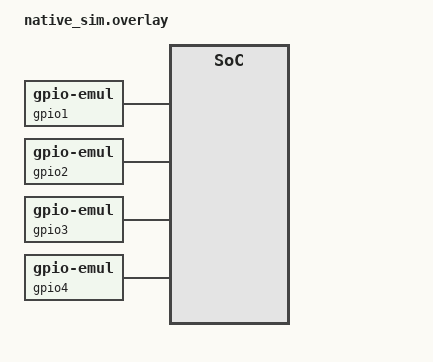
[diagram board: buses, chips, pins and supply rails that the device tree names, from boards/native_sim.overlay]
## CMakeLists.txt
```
# Copyright (c) 2024 Navimatix GmbH
# SPDX-License-Identifier: Apache-2.0

cmake_minimum_required(VERSION 3.28.0)

find_package(Zephyr REQUIRED HINTS $ENV{ZEPHYR_BASE})
project(step_dir_driver_test)

target_sources(app PRIVATE
  src/main.c
)
```

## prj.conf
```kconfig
# Copyright (c) 2024 Navimatix GmbH
# SPDX-License-Identifier: Apache-2.0

CONFIG_ZTEST=y
CONFIG_TEST=y
CONFIG_TEST_USERSPACE=y
CONFIG_LOG=y
CONFIG_STEPPER_LOG_LEVEL_DBG=y
CONFIG_STEPPER=y
CONFIG_POLL=y
CONFIG_GPIO=y
```

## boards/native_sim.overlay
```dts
/*
 * Copyright (c) 2024 Navimatix GmbH
 * SPDX-License-Identifier: Apache-2.0
 */

#include <zephyr/dt-bindings/gpio/gpio.h>

/ {
	gpio1: gpio1 {
		compatible = "zephyr,gpio-emul";
		#gpio-cells = <0x2>;
		gpio-controller;
		status = "okay";
	};

	gpio2: gpio2 {
		compatible = "zephyr,gpio-emul";
		#gpio-cells = <0x2>;
		gpio-controller;
		status = "okay";
	};

	gpio3: gpio3 {
		compatible = "zephyr,gpio-emul";
		#gpio-cells = <0x2>;
		gpio-controller;
		status = "okay";
	};

	gpio4: gpio4 {
		compatible = "zephyr,gpio-emul";
		#gpio-cells = <0x2>;
		gpio-controller;
		status = "okay";
	};
};
```

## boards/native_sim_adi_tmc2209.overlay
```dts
/*
 * Copyright (c) 2024 Jilay Sandeep Pandya
 * SPDX-License-Identifier: Apache-2.0
 */

#include "native_sim.overlay"
#include <zephyr/dt-bindings/gpio/gpio.h>

/ {
	aliases {
		stepper = &adi_tmc2209;
	};

	adi_tmc2209: adi_tmc2209 {
		compatible = "adi,tmc2209";
		micro-step-res = <32>;
		en-gpios = <&gpio2 1 0>;
		m0-gpios = <&gpio3 0 0>;
		m1-gpios = <&gpio4 1 0>;
		status = "okay";
	};
};
```

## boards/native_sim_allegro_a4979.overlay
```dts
/*
 * Copyright (c) 2024 Jilay Sandeep Pandya
 * SPDX-License-Identifier: Apache-2.0
 */

#include "native_sim.overlay"
#include <zephyr/dt-bindings/gpio/gpio.h>

/ {
	aliases {
		stepper = &allegro_a4979;
	};

	allegro_a4979: allegro_a4979 {
		status = "okay";
		compatible = "allegro,a4979";
		micro-step-res = <1>;
		reset-gpios = <&gpio4 0 0>;
		en-gpios = <&gpio2 1 0>;
		m0-gpios = <&gpio3 0 0>;
		m1-gpios = <&gpio3 1 0>;
	};
};
```

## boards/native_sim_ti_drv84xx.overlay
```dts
/*
 * Copyright (c) 2024 Jilay Sandeep Pandya
 * SPDX-License-Identifier: Apache-2.0
 */

#include "native_sim.overlay"
#include <zephyr/dt-bindings/gpio/gpio.h>

/ {
	aliases {
		stepper = &ti_drv84xx;
	};

	ti_drv84xx: ti_drv84xx {
		compatible = "ti,drv84xx";
		sleep-gpios = <&gpio2 0 GPIO_ACTIVE_LOW>;
		en-gpios = <&gpio2 1 0>;
		m0-gpios = <&gpio3 0 0>;
		m1-gpios = <&gpio4 1 0>;
		status = "okay";
	};
};
```

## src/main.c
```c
/*
 * Copyright 2024 Navimatix GmbH
 *
 * SPDX-License-Identifier: Apache-2.0
 */

#include <zephyr/drivers/gpio.h>
#include <zephyr/kernel.h>
#include <zephyr/ztest_assert.h>
#include <stdbool.h>
#include <stdint.h>
#include <zephyr/ztest.h>
#include <zephyr/drivers/stepper/stepper.h>
#include <zephyr/drivers/gpio/gpio_emul.h>

struct stepper_fixture {
	const struct device *dev;
};

struct gpio_dt_spec en_pin = GPIO_DT_SPEC_GET_OR(DT_ALIAS(stepper), en_gpios, {0});
struct gpio_dt_spec slp_pin = GPIO_DT_SPEC_GET_OR(DT_ALIAS(stepper), sleep_gpios, {0});
struct gpio_dt_spec m0_pin = GPIO_DT_SPEC_GET_OR(DT_ALIAS(stepper), m0_gpios, {0});
struct gpio_dt_spec m1_pin = GPIO_DT_SPEC_GET_OR(DT_ALIAS(stepper), m1_gpios, {0});

static void *stepper_setup(void)
{
	static struct stepper_fixture fixture = {
		.dev = DEVICE_DT_GET(DT_ALIAS(stepper)),
	};

	zassert_not_null(fixture.dev);
	return &fixture;
}

ZTEST_F(stepper, test_enable_gpio_pins)
{
	int value = 0;
	int err;

	err = stepper_enable(fixture->dev);
	if (err == -ENOTSUP) {
		ztest_test_skip();
	}
	/* As sleep and enable pins are optional, check if they exist*/
	if (en_pin.port != NULL) {
		value = gpio_emul_output_get(en_pin.port, en_pin.pin);
		zassert_equal(value, 1, "Enable pin should be set");
	}
	if (slp_pin.port != NULL) {
		value = !gpio_emul_output_get(slp_pin.port, slp_pin.pin);
		zassert_equal(value, 0, "Sleep pin should not be set");
	}

	/* As enable is supported, disable must also be supported */
	zassert_ok(stepper_disable(fixture->dev));

	if (en_pin.port != NULL) {
		value = gpio_emul_output_get(en_pin.port, en_pin.pin);
		zassert_equal(value, 0, "Enable pin should not be set");
	}
	if (slp_pin.port != NULL) {
		value = !gpio_emul_output_get(slp_pin.port, slp_pin.pin);
		zassert_equal(value, 1, "Sleep pin should be set");
	}
}

ZTEST_F(stepper, test_micro_step_res_set)
{
	enum stepper_micro_step_resolution res;
	int value = 0;

	zassert_ok(stepper_set_micro_step_res(fixture->dev, CONFIG_MICRO_STEP_RESOLUTION));

	if (m0_pin.port == NULL || m1_pin.port == NULL) {
		ztest_test_skip();
	}

	value = gpio_emul_output_get(m0_pin.port, m0_pin.pin);
	zassert_equal(value, CONFIG_MICRO_STEP_RESOLUTION_M0, "M0 pin should be %d",
		      CONFIG_MICRO_STEP_RESOLUTION_M0);

	value = gpio_emul_output_get(m1_pin.port, m1_pin.pin);
	zassert_equal(value, CONFIG_MICRO_STEP_RESOLUTION_M1, "M1 pin should be 1",
		      CONFIG_MICRO_STEP_RESOLUTION_M1);

	zassert_ok(stepper_get_micro_step_res(fixture->dev, &res));
	zassert_equal(res, CONFIG_MICRO_STEP_RESOLUTION,
		      "Micro step resolution not set correctly, should be %d but is %d",
		      CONFIG_MICRO_STEP_RESOLUTION, res);
}

ZTEST_F(stepper, test_set_micro_step_res_invalid)
{
	int ret = stepper_set_micro_step_res(fixture->dev, 127);

	zassert_equal(ret, -EINVAL, "Invalid micro step resolution should return -EINVAL");
}

ZTEST_SUITE(stepper, NULL, stepper_setup, NULL, NULL, NULL);
```
